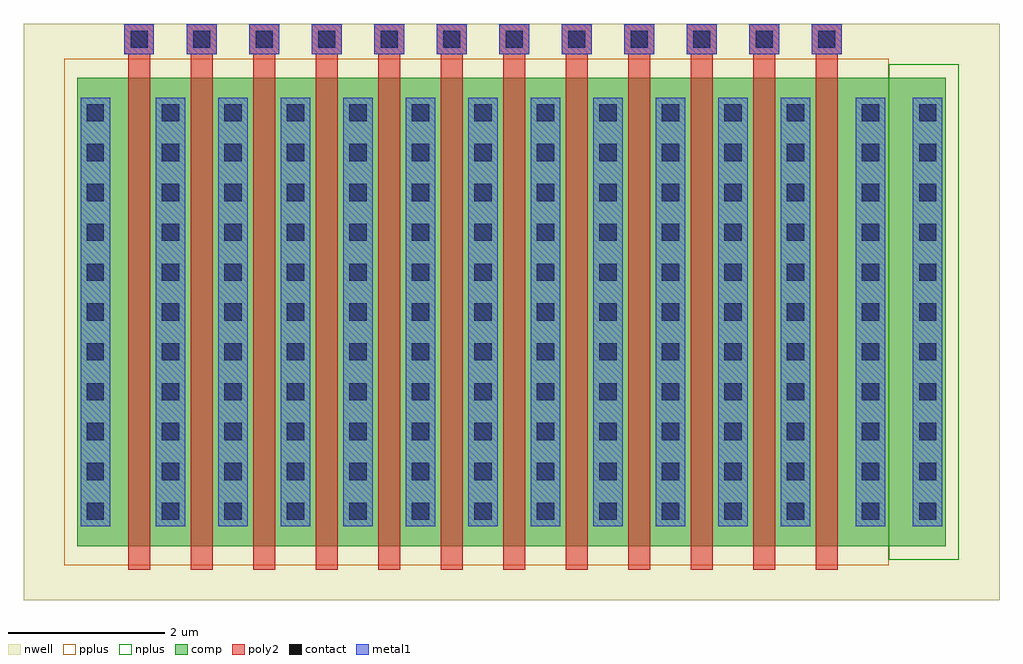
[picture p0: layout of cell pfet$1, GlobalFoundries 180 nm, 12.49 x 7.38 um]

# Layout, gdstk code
import gdstk
lib = gdstk.Library(unit=1e-6, precision=1e-09)
def R(c, l, rs):  # rectangles x0, y0, x1, y1
    for r in rs: c.add(gdstk.rectangle(r[:2], r[2:], *l))
def A(c, l, x, y, w, h, nx, ny, dx, dy):  # array of equal rectangles
    R(c, l, [(x+i*dx, y+j*dy, x+i*dx+w, y+j*dy+h) for i in range(nx) for j in range(ny)])
nwell = (21, 0)
comp = (22, 0)
poly2 = (30, 0)
pplus = (31, 0)
nplus = (32, 0)
contact = (33, 0)
metal1 = (34, 0)

pfet_1 = lib.new_cell('pfet$1')
R(pfet_1, nwell, [(-1.15,-0.69,11.34,6.69)])
R(pfet_1, comp, [(-0.46,0,0,6), (0,0,9.46,6), (9.46,0,9.92,6), (9.92,0,10.65,6)])
A(pfet_1, poly2, 0.19, -0.3, 0.28, 6.6, 12, 1, 0.8, 0)
A(pfet_1, poly2, 0.14, 6.3, 0.38, 0.38, 12, 1, 0.8, 0)
R(pfet_1, pplus, [(-0.63,-0.24,9.92,6.24)])
R(pfet_1, nplus, [(9.92,-0.17,10.82,6.17)])
A(pfet_1, contact, -0.34, 0.34, 0.22, 0.22, 1, 11, 0, 0.51)
A(pfet_1, contact, 0.62, 0.34, 0.22, 0.22, 11, 11, 0.8, 0.51)
A(pfet_1, contact, 9.58, 0.34, 0.22, 0.22, 1, 11, 0, 0.51)
A(pfet_1, contact, 10.31, 0.34, 0.22, 0.22, 1, 11, 0, 0.51)
A(pfet_1, contact, 0.22, 6.38, 0.22, 0.22, 12, 1, 0.8, 0)
A(pfet_1, metal1, 0.54, 0.26, 0.38, 5.48, 11, 1, 0.8, 0)
A(pfet_1, metal1, 0.14, 6.299, 0.38, 0.382, 12, 1, 0.8, 0)
R(pfet_1, metal1, [(-0.42,0.26,-0.04,5.74), (9.5,0.26,9.88,5.74), (10.23,0.26,10.61,5.74)])

lib.write_gds('pfet_1.gds')
